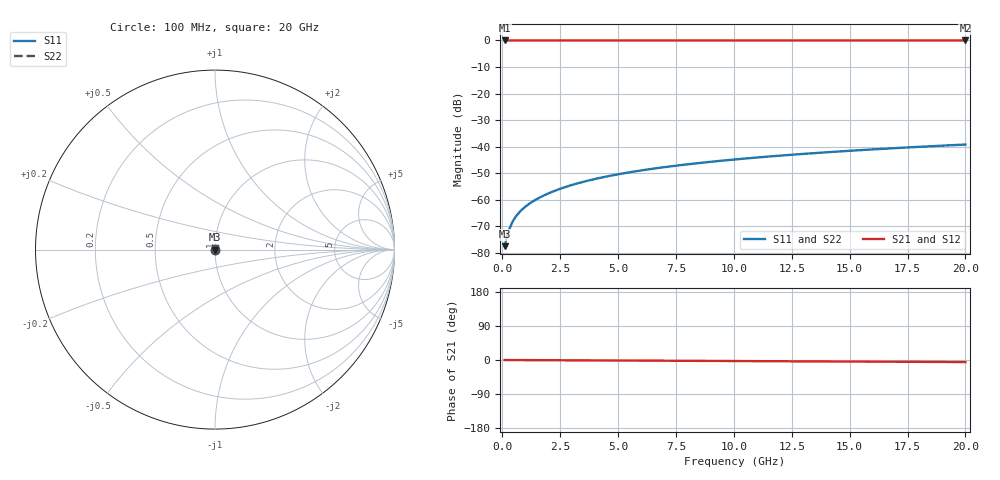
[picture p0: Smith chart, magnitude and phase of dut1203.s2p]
! Touchstone file exported from HFSS 2026.1.0
!  File:  C:/ffzhzh/LocalFiles/Ansys_Project_Files/temp_train_TSV_1203_1783192665_51560.aedt
!  Generated:  03:19:24 AM Jul  5, 2026
!  Design:  TSV
!  Project:  temp_train_TSV_1203_1783192665_51560
! Variables:
!  h_bsmrdl = 2um
!  h_ox = 20um
!  h_rdl = 5um
!  h_sub = 50.16um
!  h_tmrdl = 5um
!  h_tsv = 50.16um
!  h_via = 3um
!  l_bsmrdl = 300um
!  l_sub = 418.46um
!  l_tmrdl = 200um
!  m_sub = 200um
!  pitch = 41.66um
!  r_tsv = 9.23um
!  s_tmrdl = 10um
!  w_bsmrdl = 18um
!  w_sub = 500um
!  w_tmrdl = 12um
!  x_tsv_center1 = 206um
!  x_tsv_center2 = 524um
!  x_tsv_center3 = 736um
!  x_tsv_center4 = 1054um
!  x_tsv_center5 = 1266um
!  x_tsv_center6 = 1584um
# GHz S MA R 50.000000
! Terminal data exported
! Port[1] = TSV1_1_T1
! Port[2] = TSV1_1_T2
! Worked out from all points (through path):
!   200 points, 100 MHz to 20 GHz, reference 50 ohm
!   highest |S21| = 0.00 dB at 100 MHz (marker M1); lowest = 0.0 dB at 20 GHz (marker M2)
!   lowest |S11| = -77.5 dB at 100 MHz (marker M3), VSWR 1.00, Z = 50 + j0.0085 ohm
!   |S11| at or under -10 dB: start of sweep to end of sweep
!   |S22| runs from -77.5 to -39.2 dB; largest |S21 - S12| = 3.1e-15
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0.1  0.0001333 39.6  0.9999 -0.0  0.9999 -0.0  0.0001333 39.6
! Gamma 0 0 0 0
! Port Impedance 50 0 50 0
0.2  0.0002015 56.4  0.9999 -0.1  0.9999 -0.1  0.0002015 56.4
0.3  0.0002767 63.3  0.9999 -0.1  0.9999 -0.1  0.0002767 63.3
0.4  0.0003513 66.5  0.9999 -0.1  0.9999 -0.1  0.0003513 66.5
0.5  0.000423 68.2  0.9998 -0.1  0.9998 -0.1  0.000423 68.2
0.6  0.0004916 69.3  0.9998 -0.2  0.9998 -0.2  0.0004916 69.3
0.7  0.0005573 70.1  0.9998 -0.2  0.9998 -0.2  0.0005573 70.1
0.8  0.0006206 70.8  0.9998 -0.2  0.9998 -0.2  0.0006206 70.8
1  0.0007422 71.9  0.9998 -0.3  0.9998 -0.3  0.0007422 71.9
1.4  0.0009757 73.9  0.9997 -0.4  0.9997 -0.4  0.0009757 73.9
1.7  0.001148 75.1  0.9997 -0.5  0.9997 -0.5  0.001148 75.1
2  0.00132 76.1  0.9997 -0.6  0.9997 -0.6  0.00132 76.1
2.7  0.001721 77.7  0.9997 -0.7  0.9997 -0.7  0.001721 77.7
3.5  0.002176 78.8  0.9996 -1.0  0.9996 -1.0  0.002176 78.8
4.2  0.002569 79.4  0.9996 -1.2  0.9996 -1.2  0.002569 79.4
5  0.003014 79.8  0.9995 -1.4  0.9995 -1.4  0.003014 79.8
6.8  0.003998 80.3  0.9994 -1.9  0.9994 -1.9  0.003998 80.3
8.3  0.004805 80.5  0.9994 -2.3  0.9994 -2.3  0.004805 80.5
10.1  0.005764 80.6  0.9993 -2.8  0.9993 -2.8  0.005764 80.6
13.4  0.00751 80.5  0.9992 -3.7  0.9992 -3.7  0.00751 80.5
16.7  0.009239 80.2  0.9991 -4.5  0.9991 -4.5  0.009239 80.2
20  0.01095 79.6  0.999 -5.4  0.999 -5.4  0.01095 79.6
